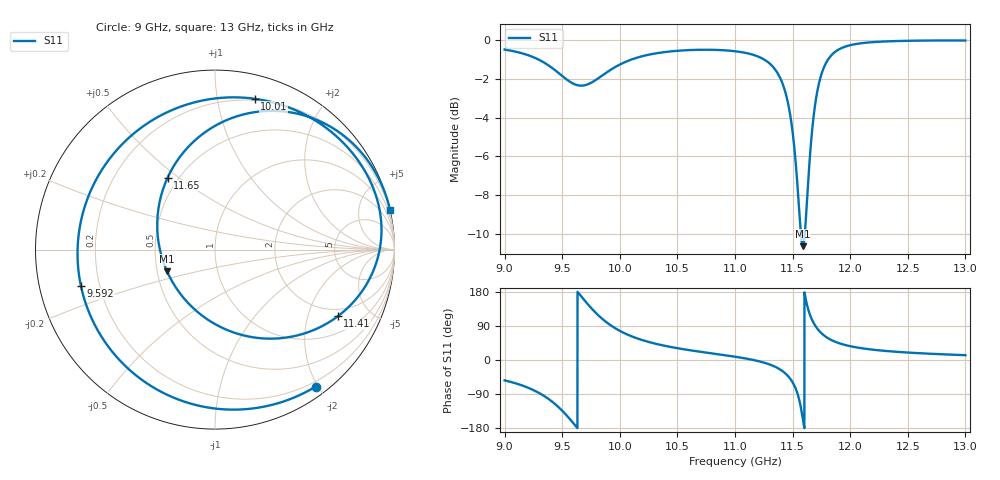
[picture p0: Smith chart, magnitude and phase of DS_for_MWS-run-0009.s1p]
! TOUCHSTONE file generated by CST DESIGN STUDIO
! Date and time: Tue Jan 28 13:35:14 2025
! Project name: C:\Work\MatlabApps\UnitCellOptimizationMatlabNew\CST\unitcell.cst
! Tree item: Tasks\Sweep1\SPara1\S-Parameters
! Header version: 2024
! Port assignment regex: !\s*Touchstone port\s*([0-9]+)\s*=\s*(CST MWS port|CST DES external port|CST DES block port)\s*(.+)\s* \(\"(.*)\"\)(\s*mode\s*([0-9]+))?.*
! Touchstone port assignment:
! Touchstone port 1 = CST DES external port 1 ("")
# GHz S MA R 50
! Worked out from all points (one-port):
!   4001 points, 9 GHz to 13 GHz, reference 50 ohm
!   lowest |S11| = -10.7 dB at 11.59 GHz (marker M1), VSWR 1.83, Z = 28.2 - j7.44 ohm
!   |S11| at or under -10 dB: 11.57219 GHz to 11.60608 GHz (33.88 MHz wide, 0.292 % of centre)
!   S11 on the Smith chart (normalised r, x): 9 GHz: 0.13, -1.97; 9.592 GHz: 0.13, -0.13; 10.01 GHz: 0.19, +1.28; 11.41 GHz: 1.65, -3.12; 11.65 GHz: 0.44, +0.46; 13 GHz: 0.03, +8.96
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9  0.9472 -53.7
9.168  0.923 -68.9
9.32  0.8842 -90.7
9.415  0.8476 -110.5
9.5  0.8091 -133.8
9.592  0.7739 -164.9
9.685  0.7644 160.6
9.796  0.7917 123.0
9.888  0.8271 98.7
10  0.866 76.9
10.01  0.869 75.3
10.221  0.9142 50.1
10.5  0.94 31.1
11  0.9376 8.7
11.264  0.8881 -8.0
11.409  0.7783 -28.5
11.456  0.6974 -41.0
11.5  0.5793 -58.9
11.546  0.4067 -92.1
11.589  0.2933 -155.7
11.617  0.3518 156.2
11.646  0.4806 123.3
11.692  0.6704 92.8
11.746  0.8097 71.9
11.852  0.9249 50.4
12  0.972 36.5
12.5  0.9978 19.6
13  0.9994 12.7
